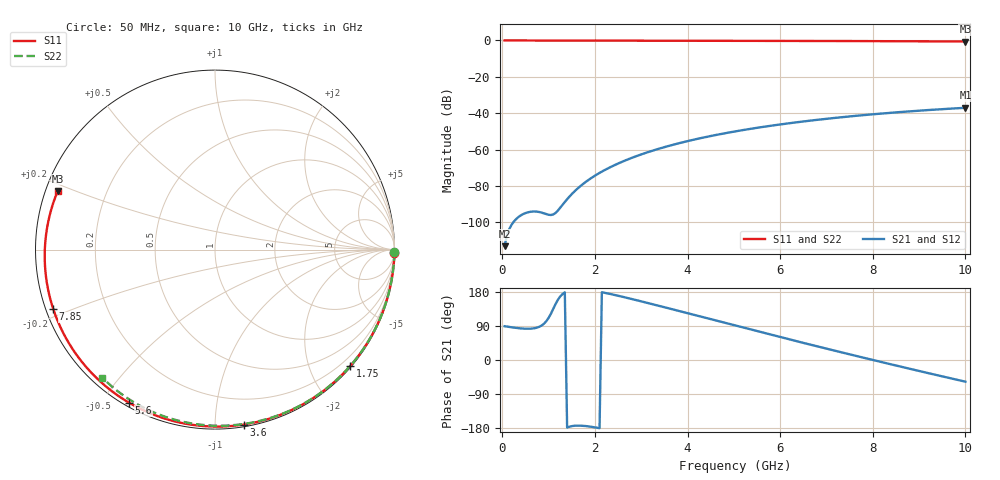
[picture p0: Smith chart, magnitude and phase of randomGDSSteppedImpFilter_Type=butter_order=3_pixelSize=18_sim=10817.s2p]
! freq	dB(S11)	phase(S11)	dB(S12)	phase(S12)
!  dB(S21)	phase(S21)	dB(S22)	phase(S22)
!S-par simulation data
#  GHz  S  DB  R 50
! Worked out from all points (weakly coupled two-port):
!   200 points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, 50 MHz to 10 GHz, reference 50 ohm
!   highest |S21| = -37.02 dB at 10 GHz (marker M1); lowest = -113.1 dB at 50 MHz (marker M2)
!   lowest |S11| = -0.6 dB at 10 GHz (marker M3), VSWR 29.83, Z = 1.73 + j9 ohm
!   |S11| at or under -10 dB: nowhere
!   |S22| runs from -0.4 to 0.0 dB; largest |S21 - S12| = 0
!   S11 on the Smith chart (normalised r, x): 50 MHz: 0, -96; 1.75 GHz: 0.02, -2.69; 3.6 GHz: 0.01, -1.18; 5.6 GHz: 0.01, -0.59; 7.85 GHz: 0.02, -0.18; 10 GHz: 0.03, +0.18
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0.05  -0.00 -1.2  -113.09 89.2  -113.09 89.2  -0.00 -0.8
0.4  -0.01 -9.5  -96.15 83.3  -96.15 83.3  -0.01 -6.1
0.8  -0.02 -18.9  -94.33 87.7  -94.33 87.7  -0.02 -12.1
1.2  -0.04 -28.2  -93.53 158.7  -93.53 158.7  -0.02 -18.1
1.65  -0.05 -38.5  -80.85 -173.2  -80.85 -173.2  -0.03 -24.7
1.7  -0.05 -39.6  -79.78 -173.3  -79.78 -173.3  -0.03 -25.5
1.75  -0.05 -40.8  -78.76 -173.7  -78.76 -173.7  -0.03 -26.2
2.05  -0.06 -47.5  -73.56 -178.8  -73.56 -178.8  -0.04 -30.6
2.45  -0.07 -56.3  -68.24 171.0  -68.24 171.0  -0.05 -36.4
2.9  -0.08 -66.0  -63.55 157.8  -63.55 157.8  -0.06 -42.9
3.4  -0.10 -76.5  -59.38 142.4  -59.38 142.4  -0.07 -49.9
3.6  -0.11 -80.6  -57.94 136.1  -57.94 136.1  -0.07 -52.7
4.3  -0.13 -94.6  -53.60 114.0  -53.60 114.0  -0.09 -62.3
5.05  -0.16 -109.0  -49.90 90.2  -49.90 90.2  -0.11 -72.2
5.6  -0.19 -119.3  -47.63 73.0  -47.63 73.0  -0.13 -79.3
6.15  -0.22 -129.3  -45.66 55.9  -45.66 55.9  -0.15 -86.3
6.7  -0.26 -139.2  -43.93 39.1  -43.93 39.1  -0.18 -93.1
7.3  -0.31 -149.9  -42.27 20.9  -42.27 20.9  -0.21 -100.3
7.85  -0.35 -159.8  -40.93 4.5  -40.93 4.5  -0.25 -106.8
8.35  -0.40 -168.9  -39.84 -10.2  -39.84 -10.2  -0.29 -112.6
9.2  -0.49 175.3  -38.26 -34.7  -38.26 -34.7  -0.36 -122.4
10  -0.58 159.6  -37.02 -57.2  -37.02 -57.2  -0.44 -131.4
